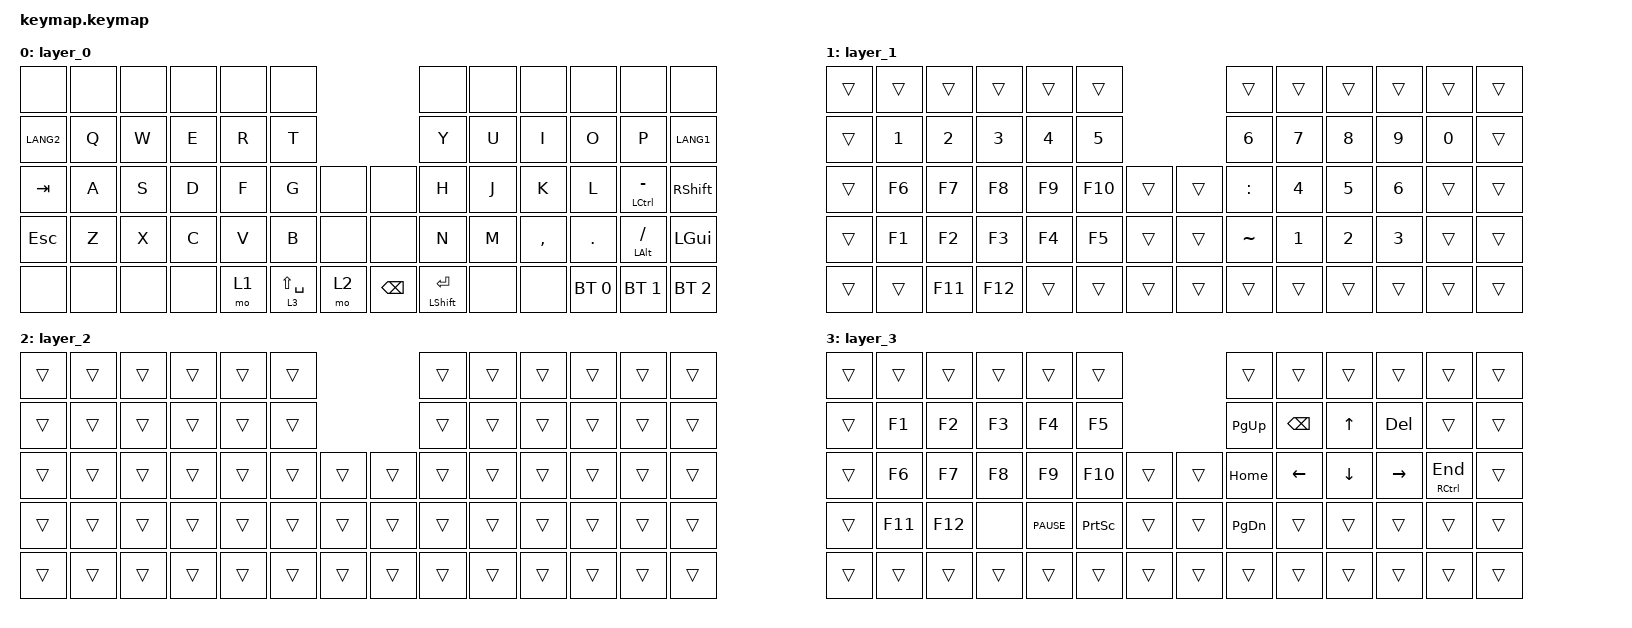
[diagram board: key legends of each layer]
#include <behaviors.dtsi>
#include <dt-bindings/zmk/bt.h>
#include <dt-bindings/zmk/keys.h>
#include <dt-bindings/zmk/pointing.h>

/ {
    combos {
        compatible = "zmk,combos";

        LeftClick {
            bindings = <&mkp MB1>;
            key-positions = <33 34>;
        };

        RightClick {
            bindings = <&mkp MB2>;
            key-positions = <34 35>;
        };

        WheelClick {
            bindings = <&mkp MB3>;
            key-positions = <33 35>;
        };

        BrowserBack {
            bindings = <&mkp MB4>;
            key-positions = <19 20>;
        };

        BrowserForward {
            bindings = <&mkp MB5>;
            key-positions = <20 21>;
        };

        Layer1 {
            bindings = <&mo 1>;
            key-positions = <47 48>;
        };

        Layer2 {
            bindings = <&mo 2>;
            key-positions = <48 49>;
        };
    };

    behaviors {
        mt_balanced: mt_balanced {
            compatible = "zmk,behavior-hold-tap";
            #binding-cells = <2>;
            flavor = "balanced";
            tapping-term-ms = <200>;
            quick-tap-ms = <150>;
            bindings = <&kp>, <&kp>;
        };
    };

    keymap {
        compatible = "zmk,keymap";

        layer_0 {
            bindings = <
&none      &none  &none  &none  &none  &none                             &none                 &none  &none      &none         &none                        &none
&kp LANG2  &kp Q  &kp W  &kp E  &kp R  &kp T                             &kp Y                 &kp U  &kp I      &kp O         &kp P                        &kp LANG1
&kp TAB    &kp A  &kp S  &kp D  &kp F  &kp G            &none  &none     &kp H                 &kp J  &kp K      &kp L         &mt_balanced LCTRL MINUS     &kp RIGHT_SHIFT
&kp ESC    &kp Z  &kp X  &kp C  &kp V  &kp B            &none  &none     &kp N                 &kp M  &kp COMMA  &kp PERIOD    &mt_balanced LEFT_ALT SLASH  &kp LEFT_GUI
&none      &none  &none  &none  &mo 1  &lt 3 LS(SPACE)  &mo 2  &kp BSPC  &mt LEFT_SHIFT ENTER  &none  &none      &bt BT_SEL 0  &bt BT_SEL 1                 &bt BT_SEL 2
            >;
        };

        layer_1 {
            bindings = <
&trans  &trans  &trans   &trans   &trans  &trans                   &trans     &trans  &trans  &trans  &trans  &trans
&trans  &kp N1  &kp N2   &kp N3   &kp N4  &kp N5                   &kp N6     &kp N7  &kp N8  &kp N9  &kp N0  &trans
&trans  &kp F6  &kp F7   &kp F8   &kp F9  &kp F10  &trans  &trans  &kp COLON  &kp N4  &kp N5  &kp N6  &trans  &trans
&trans  &kp F1  &kp F2   &kp F3   &kp F4  &kp F5   &trans  &trans  &kp TILDE  &kp N1  &kp N2  &kp N3  &trans  &trans
&trans  &trans  &kp F11  &kp F12  &trans  &trans   &trans  &trans  &trans     &trans  &trans  &trans  &trans  &trans
            >;
        };

        layer_2 {
            bindings = <
&trans  &trans  &trans  &trans  &trans  &trans                  &trans  &trans  &trans  &trans  &trans  &trans
&trans  &trans  &trans  &trans  &trans  &trans                  &trans  &trans  &trans  &trans  &trans  &trans
&trans  &trans  &trans  &trans  &trans  &trans  &trans  &trans  &trans  &trans  &trans  &trans  &trans  &trans
&trans  &trans  &trans  &trans  &trans  &trans  &trans  &trans  &trans  &trans  &trans  &trans  &trans  &trans
&trans  &trans  &trans  &trans  &trans  &trans  &trans  &trans  &trans  &trans  &trans  &trans  &trans  &trans
            >;
        };

        layer_3 {
            bindings = <
&trans  &trans   &trans   &trans  &trans       &trans                           &trans         &trans         &trans    &trans      &trans         &trans
&trans  &kp F1   &kp F2   &kp F3  &kp F4       &kp F5                           &kp PAGE_UP    &kp BACKSPACE  &kp UP    &kp DELETE  &trans         &trans
&trans  &kp F6   &kp F7   &kp F8  &kp F9       &kp F10          &trans  &trans  &kp HOME       &kp LEFT       &kp DOWN  &kp RIGHT   &mt RCTRL END  &trans
&trans  &kp F11  &kp F12  &none   &kp C_PAUSE  &kp PRINTSCREEN  &trans  &trans  &kp PAGE_DOWN  &trans         &trans    &trans      &trans         &trans
&trans  &trans   &trans   &trans  &trans       &trans           &trans  &trans  &trans         &trans         &trans    &trans      &trans         &trans
            >;
        };
    };
};
